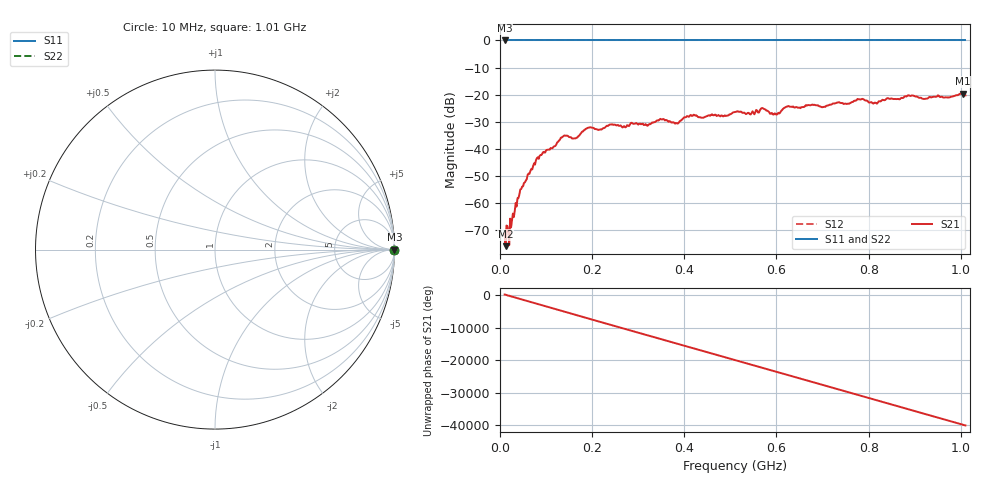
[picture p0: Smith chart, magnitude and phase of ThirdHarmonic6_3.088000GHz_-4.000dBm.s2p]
! 8/17/2025 9:04:22 AM
! C:\ANRITSUVNA\TEMP\TEMP.S2P
! CHANNEL.1
! TR.MEASUREMENT
! RAW.DATA
! RF.CORRECTION.OFF
! AVERAGING.OFF
! IF.BANDWIDTH: 5KHZ
! SWEEPTYPE:  FREQ.SWEEP(Linear)
! Reference Plane Port Info
! PORT:  PORT1  PORT2
! DISTANCE:  0  m  0  m
! TIME:  0  s  0  s
! PHASE.OFFSET:  0  deg.  0  deg.
! LOSS:  0  dB  0  dB
! REF.LOSS:  0  dB  0  dB
! REF.FREQ:  0  Hz  0  Hz
! Power Info
! POWER:  -20  dBm  -20  dBm
! EFF.POWER:  -20  dBm  -20  dBm
! SOURCE.ATTEN:  0  dB  0  dB
! TEST.ATTEN:  0  dB  0  dB
# GHZ S RI R 50.0
! FREQ.GHZ  S11RE  S11IM  S21RE  S21IM  S12RE  S12IM  S22RE  S22IM
!; PortSelection: Port_12
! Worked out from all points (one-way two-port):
!   501 points, 10 MHz to 1.01 GHz, reference 50 ohm
!   highest |S21| = -19.57 dB at 1.004 GHz (marker M1); lowest = -75.9 dB at 12 MHz (marker M2)
!   lowest |S11| = 0.0 dB at 10 MHz (marker M3)
!   |S11| at or under -10 dB: nowhere
!   |S22| runs from 0.0 to 0.0 dB; largest |S21 - S12| = 1.1
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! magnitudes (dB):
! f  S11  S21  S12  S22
! 10 MHz  0.0  -71.2  0.0  0.0
! 12 MHz  0.0  -75.9  0.0  0.0
! 16 MHz  0.0  -68.4  0.0  0.0
! 22 MHz  0.0  -65.7  0.0  0.0
! 48 MHz  0.0  -53.9  0.0  0.0
! 82 MHz  0.0  -43.1  0.0  0.0
! 136 MHz  0.0  -35.5  0.0  0.0
! 164 MHz  0.0  -36.1  0.0  0.0
! 178 MHz  0.0  -33.7  0.0  0.0
! 344 MHz  0.0  -29.5  0.0  0.0
! 384 MHz  0.0  -30.5  0.0  0.0
! 416 MHz  0.0  -27.8  0.0  0.0
! 510 MHz  0.0  -26.4  0.0  0.0
! 570 MHz  0.0  -25.0  0.0  0.0
! 598 MHz  0.0  -27.1  0.0  0.0
! 622 MHz  0.0  -24.4  0.0  0.0
! 678 MHz  0.0  -23.6  0.0  0.0
! 784 MHz  0.0  -21.7  0.0  0.0
! 814 MHz  0.0  -22.9  0.0  0.0
! 844 MHz  0.0  -21.4  0.0  0.0
! 1.004 GHz  0.0  -19.6  0.0  0.0
! 1.01 GHz  0.0  -20.3  0.0  0.0
